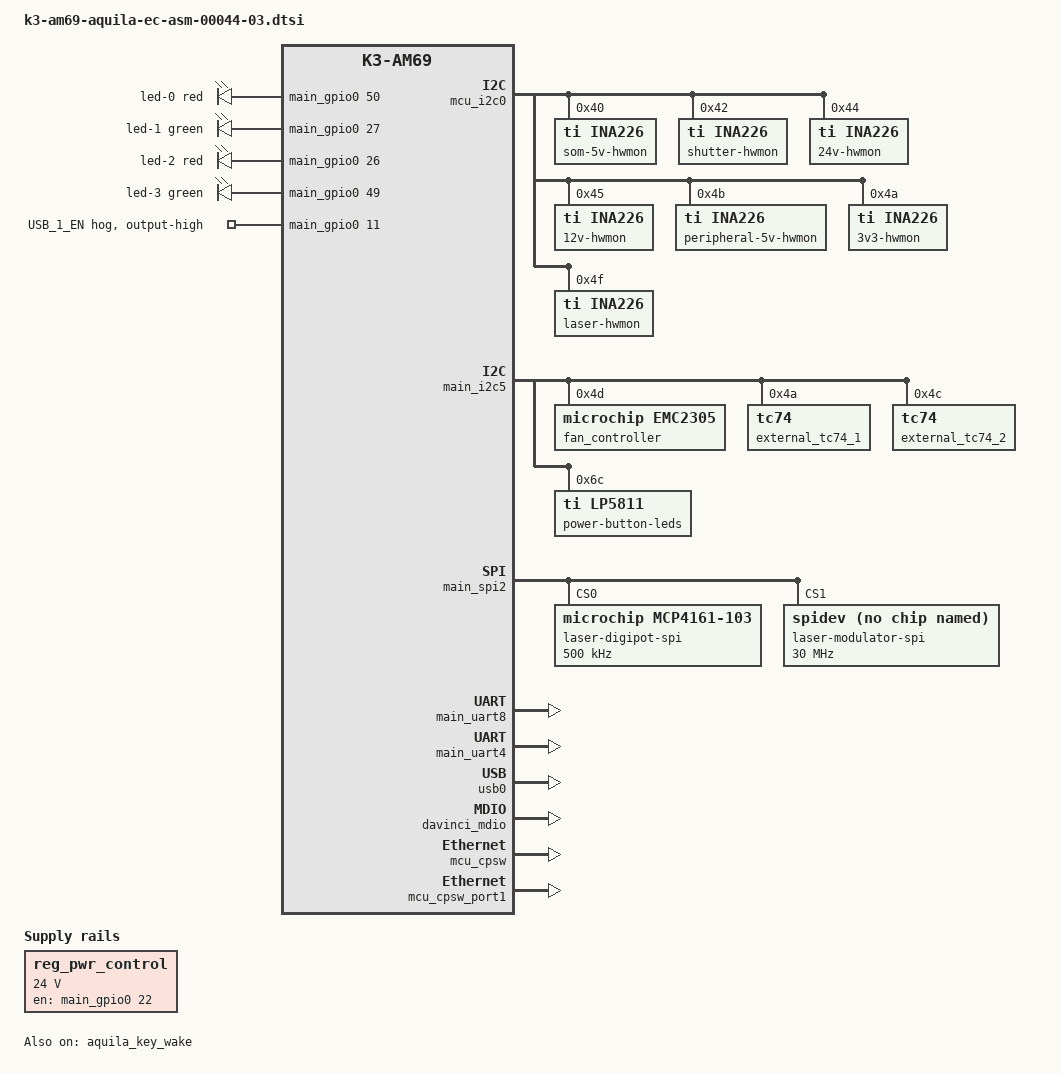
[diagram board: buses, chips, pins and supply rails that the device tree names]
// SPDX-License-Identifier: GPL-2.0-or-later OR MIT
/*
 * Copyright 2024 Toradex
 * Copyright 2025 Refeyn
 *
 * Device tree for EC-ASM-00044-03 CheckMate Main Board
 */

#include <dt-bindings/gpio/gpio.h>
#include <dt-bindings/interrupt-controller/irq.h>
#include <dt-bindings/leds/common.h>

#include "k3-am69-aquila-generic-carrier.dtsi"

&main_pmx0 {
	/* Aquila I2S_1 (LEDs) */
	pinctrl_main_mcasp4_gpio: main-mcasp4-gpio-pins {
		pinctrl-single,pins = <
			J784S4_IOPAD(0x0c8, PIN_OUTPUT, 7)  /* (AJ32) EXT_REFCLK1.MCASP4_ACLKX      */ /* AQUILA B20 */
			J784S4_IOPAD(0x06c, PIN_OUTPUT, 7)  /* (AJ37) MCAN1_TX.MCASP4_AFSX          */ /* AQUILA B21 */
			J784S4_IOPAD(0x068, PIN_OUTPUT, 7)  /* (AE38) MCAN0_RX.MCASP4_AXR1          */ /* AQUILA B22 */
			J784S4_IOPAD(0x0c4, PIN_OUTPUT, 7)  /* (AD36) ECAP0_IN_APWM_OUT.MCASP4_AXR2 */ /* AQUILA B23 */
		>;
	};

	/* Aquila CAN_1 (Debug switches) */
	pinctrl_main_mcan10_gpio: main-mcan10-gpio-pins {
		pinctrl-single,pins = <
			J784S4_IOPAD(0x0b8, PIN_INPUT, 7)  /* (AC34) MCASP1_ACLKX.MCAN10_RX */ /* AQUILA B49 */
			J784S4_IOPAD(0x0b4, PIN_INPUT, 7)  /* (AL34) MCASP1_AXR4.MCAN10_TX  */ /* AQUILA B48 */
		>;
	};

	/* Aquila SPI_1 CS */
	/* Aquila PCIE_2_RESET# */
	pinctrl_main_spi2_cs: main-spi2-cs1-default-pins {
		pinctrl-single,pins = <
			J784S4_IOPAD(0x09c, PIN_OUTPUT, 10) /* (AF35) MCASP0_AXR11.SPI2_CS1 */ /* AQUILA D9 */
			J784S4_IOPAD(0x0a4, PIN_OUTPUT, 10) /* (AJ36) MCASP0_AXR13.SPI2_CS0 */ /* AQUILA C35 */
		>;
	};

	/* Aquila ETH_2_XGMII_MDIO */
	pinctrl_pwr_control: pwr-control-default-pins {
		pinctrl-single,pins = <
			J784S4_IOPAD(0x058, PIN_OUTPUT, 7) /* (AE37) MCASP2_AFSX.GPIO0_22  */ /* AQUILA B90 */
		>;
	};
};

&wkup_pmx2 {
	/* Aquila CAN_2 (Debug switches) */
	pinctrl_mcu_mcan0_gpio: mcu-mcan0-gpio-pins {
		pinctrl-single,pins = <
			J784S4_WKUP_IOPAD(0x054, PIN_INPUT, 7)  /* (F38) MCU_MCAN0_RX  */ /* AQUILA B51 */
			J784S4_WKUP_IOPAD(0x050, PIN_INPUT, 7)  /* (K33) MCU_MCAN0_TX  */ /* AQUILA B50 */
		>;
	};

	/* Aquila CAN_4 (FAN_ALERT) */
	pinctrl_mcu_mcan1_gpio: mcu-mcan1-gpio-pins {
		pinctrl-single,pins = <
			J784S4_WKUP_IOPAD(0x068, PIN_INPUT, 7) /* (H35) WKUP_GPIO0_4.MCU_MCAN1_TX */ /* AQUILA B55 */
		>;
	};

	/* Aquila MSP_3_RX_N (SHUTTER_ACTIVE) */
	pinctrl_mcu_wkup_gpio0_3: mcu-wkup-gpio0-3-default-pins {
		pinctrl-single,pins = <
			J784S4_WKUP_IOPAD(0x064, PIN_INPUT, 7) /* (J36) WKUP_GPIO0_3 */ /* AQUILA C53 */
		>;
	};
};

// BEGIN POWER CONTROL AND DIAGNOSTICS

/ {
	reg_pwr_control: regulator-pwr-control {
		compatible = "regulator-fixed";
		pinctrl-names = "default";
		enable-active-high;
		pinctrl-0 = <&pinctrl_pwr_control>;
		/* Aquila ETH_2_XGMII_MDIO_MDC (AQUILA B90) */
		gpio = <&main_gpio0 22 GPIO_ACTIVE_HIGH>;
		regulator-max-microvolt = <24000000>;
		regulator-min-microvolt = <24000000>;
		regulator-name = "POWER_CONTROL";
		regulator-always-on;
	};
};

/* Aquila CTRL_PWR_BTN_MICO# */
&aquila_key_power {
	status = "okay";
};

/* Aquila CTRL_WAKE1_MICO# */
&aquila_key_wake {
	status = "okay";
};

/* Aquila I2C_1 */
&mcu_i2c0 {
	status = "okay";

	som-5v-hwmon@40 { // U5
		compatible = "ti,ina226";
		reg = <0x40>;
		shunt-resistor = <5000>;
	};

	shutter-hwmon@42 { // U57
		compatible = "ti,ina226";
		reg = <0x42>;
		shunt-resistor = <100000>;
	};

	24v-hwmon@44 { // U4
		compatible = "ti,ina226";
		reg = <0x44>;
		shunt-resistor = <5000>;
	};

	12v-hwmon@45 { // U2
		compatible = "ti,ina226";
		reg = <0x45>;
		shunt-resistor = <10000>;
	};

	peripheral-5v-hwmon@4b { // U6
		compatible = "ti,ina226";
		reg = <0x4B>;
		shunt-resistor = <5000>;
	};

	3v3-hwmon@4a { // U10
		compatible = "ti,ina226";
		reg = <0x4A>;
		shunt-resistor = <10000>;
	};

	laser-hwmon@4f { // U44
		compatible = "ti,ina226";
		reg = <0x4F>;
		shunt-resistor = <30000>;
	};
};

/* Aquila I2C_6 */
&main_i2c5 {
	status = "okay";

	fan_controller: fan-controller@4d {
		pinctrl-names = "default";
		pinctrl-0 =
			<&pinctrl_mcu_mcan1_gpio>, // FAN_ALERT
			<&pinctrl_gpio_01>, // READ_BATT
			<&pinctrl_gpio_02>; // BATT_OK
		compatible = "microchip,emc2305";
		reg = <0x4D>;
		#address-cells = <1>;
		#size-cells = <0>;
		#pwm-cells = <3>;

		case_fan0: case-fan-0@0 {
			reg = <0x0>;
			pwms = <&fan_controller 26000 0 1>;
			#cooling-cells = <2>;
		};

		case_fan1: case-fan-1@1 {
			reg = <0x1>;
			pwms = <&fan_controller 26000 0 1>;
			#cooling-cells = <2>;
		};

		cpu_fan: cpu-fan@2 {
			reg = <0x2>;
			pwms = <&fan_controller 26000 0 1>;
			#cooling-cells = <2>;
		};
	};

	// External temperature sensor boards
	external_tc74_1: external-tc74-1@4a {
		compatible = "tc74";
		reg = <0x4a>;
	};

	external_tc74_2: external-tc74-2@4c {
		compatible = "tc74";
		reg = <0x4c>;
	};

	power-button-leds@6c {
		compatible = "ti,lp5811";
		reg = <0x6c>;
		led-microvolts = <3300000>;
		led-max-microamp = <20000>;

		multi-led {
			color = <LED_COLOR_ID_RGB>;
			function = LED_FUNCTION_INDICATOR;
			#address-cells = <1>;
			#size-cells = <0>;
			default-state = "keep";

			led-red {
				reg = <0>;
				color = <LED_COLOR_ID_RED>;
			};

			led-green {
				reg = <1>;
				color = <LED_COLOR_ID_GREEN>;
			};

			led-blue {
				reg = <2>;
				color = <LED_COLOR_ID_BLUE>;
			};
		};
	};
};

// END

// BEGIN LASER AND SHUTTER CONTROL

/* Aquila SPI_1 */
&main_spi2 {
	status = "okay";
	pinctrl-0 =
		// SPI and CS pins
		<&pinctrl_main_spi2>,
		<&pinctrl_main_spi2_cs>, // CS1 (HW 1) and CS2 (HW 0)
		// Shutter pins
		<&pinctrl_gpio_08>, // SHUTTER_EN
		<&pinctrl_mcu_wkup_gpio0_3>, // SHUTTER_ACTIVE
		// Interlock pins
		<&pinctrl_gpio_10_csi_1>, // INTERLOCK_STATUS_0
		<&pinctrl_gpio_12_csi_1>; // INTERLOCK_STATUS_1
	cs-gpios = <0>, <0>;

	laser-digipot-spi@0 {
		reg = <0>;
		compatible = "microchip,mcp4161-103";
		spi-max-frequency = <500000>;
	};

	laser-modulator-spi@1 {
		/* Use compatible "rohm,dh2228fv" to bind spidev driver */
		reg = <1>;
		compatible = "rohm,dh2228fv";
		spi-max-frequency = <30000000>;
	};
};

// END

// BEGIN DEBUG

/* Aquila UART_3, used as the Linux console */
&main_uart8 {
	status = "okay";
};

&reg_sdhc1_vmmc {
	status = "disabled";
};

&{/} {
	leds {
		compatible = "gpio-leds";
		pinctrl-names = "default";
		pinctrl-0 =
			// LEDs
			<&pinctrl_main_mcasp4_gpio>,
			// Debug
			<&pinctrl_main_mcan10_gpio>, // DEBUG_SW_0/1
			<&pinctrl_mcu_mcan0_gpio>, // DEBUG_SW_2/3
			// Diag
			<&pinctrl_gpio_13_csi_2>, // DIAG0
			<&pinctrl_gpio_14_csi_2>, // DIAG1
			<&pinctrl_gpio_15_csi_2>, // DIAG2
			<&pinctrl_gpio_16_csi_2>; // DIAG3

		/* LED0 Red */
		led-0 {
			color = <LED_COLOR_ID_RED>;
			default-state = "off";
			function = LED_FUNCTION_STATUS;
			gpios = <&main_gpio0 50 GPIO_ACTIVE_HIGH>;
			panic-indicator;
		};

		/* LED1 Green */
		led-1 {
			color = <LED_COLOR_ID_GREEN>;
			default-state = "off";
			function = LED_FUNCTION_STATUS;
			gpios = <&main_gpio0 27 GPIO_ACTIVE_HIGH>;
			linux,default-trigger = "heartbeat";
		};

		/* LED2 Red */
		led-2 {
			color = <LED_COLOR_ID_RED>;
			default-state = "off";
			function = LED_FUNCTION_STATUS;
			gpios = <&main_gpio0 26 GPIO_ACTIVE_HIGH>;
		};

		/* LED3 Green */
		led-3 {
			color = <LED_COLOR_ID_GREEN>;
			default-state = "off";
			function = LED_FUNCTION_DISK_ACTIVITY;
			gpios = <&main_gpio0 49 GPIO_ACTIVE_HIGH>;
			linux,default-trigger = "mmc0";
		};
	};
};

// END

// BEGIN RT CPU CONTROL

/* Aquila UART_1 */
&main_uart4 {
	status = "okay";
	pinctrl-0 =
		// UART
		<&pinctrl_main_uart4>,
		// GPIOs
		<&pinctrl_gpio_04>, // RTCPU_RESET
		<&pinctrl_gpio_05>, // RTCPU_MODE_0
		<&pinctrl_gpio_06>; // RTCPU_MODE_1
};

// END

// BEGIN USB
// Note: USB2 is a PCIe USB bridge

&usb0 {
	status = "okay";
};

// END

// BEGIN ETHERNET

/* On-module ETH_1 MDIO */
&davinci_mdio {
	status = "okay";
};

&mcu_cpsw {
	status = "okay";
};

/* On-module ETH_1 RGMII */
&mcu_cpsw_port1 {
	status = "okay";
};

// END

// BEGIN THERMAL

&main0_alert0 {
	temperature = <40000>;
};

&main1_alert0 {
	temperature = <40000>;
};

&main2_alert0 {
	temperature = <40000>;
};

&main3_alert0 {
	temperature = <40000>;
};

&main4_alert0 {
	temperature = <40000>;
};

&wkup0_alert0 {
	temperature = <40000>;
};

&wkup1_alert0 {
	temperature = <40000>;
};

&main0_alert1 {
	type = "hot";
};

&main1_alert1 {
	type = "hot";
};

&main2_alert1 {
	type = "hot";
};

&main3_alert1 {
	type = "hot";
};

&main4_alert1 {
	type = "hot";
};

&wkup0_alert1 {
	type = "hot";
};

&wkup1_alert1 {
	type = "hot";
};

&main0_thermal {
	cooling-maps {
		map0 {
			cooling-device = <&cpu_fan 1 5>;
			trip = <&main0_alert0>;
		};

		map1 {
			cooling-device = <&cpu_fan 6 THERMAL_NO_LIMIT>;
			trip = <&main0_alert1>;
		};
	};
};

&main1_thermal {
	cooling-maps {
		map0 {
			cooling-device = <&cpu_fan 1 5>;
			trip = <&main1_alert0>;
		};

		map1 {
			cooling-device = <&cpu_fan 6 THERMAL_NO_LIMIT>;
			trip = <&main1_alert1>;
		};
	};
};

&main2_thermal {
	cooling-maps {
		map0 {
			cooling-device = <&cpu_fan 1 5>;
			trip = <&main2_alert0>;
		};

		map1 {
			cooling-device = <&cpu_fan 6 THERMAL_NO_LIMIT>;
			trip = <&main2_alert1>;
		};
	};
};

&main3_thermal {
	cooling-maps {
		map0 {
			cooling-device = <&cpu_fan 1 5>;
			trip = <&main3_alert0>;
		};

		map1 {
			cooling-device = <&cpu_fan 6 THERMAL_NO_LIMIT>;
			trip = <&main3_alert1>;
		};
	};
};

&main4_thermal {
	cooling-maps {
		map0 {
			cooling-device = <&cpu_fan 1 5>;
			trip = <&main4_alert0>;
		};

		map1 {
			cooling-device = <&cpu_fan 6 THERMAL_NO_LIMIT>;
			trip = <&main4_alert1>;
		};
	};
};

&wkup0_thermal {
	cooling-maps {
		map0 {
			cooling-device = <&cpu_fan 1 5>;
			trip = <&wkup0_alert0>;
		};

		map1 {
			cooling-device = <&cpu_fan 6 THERMAL_NO_LIMIT>;
			trip = <&wkup0_alert1>;
		};
	};
};

&wkup1_thermal {
	trips {
		wkup1_alert2: trip-point0 {
			temperature = <15000>;
			hysteresis = <2000>;
			type = "active";
		};
	};

	cooling-maps {
		map0 {
			cooling-device = <&cpu_fan 1 5>, <&case_fan0 6 THERMAL_NO_LIMIT>, <&case_fan1 6 THERMAL_NO_LIMIT>;
			trip = <&wkup1_alert0>;
		};

		map1 {
			cooling-device = <&cpu_fan 6 THERMAL_NO_LIMIT>, <&case_fan0 6 THERMAL_NO_LIMIT>, <&case_fan1 6 THERMAL_NO_LIMIT>;
			trip = <&wkup1_alert1>;
		};

		map2 {
			cooling-device = <&case_fan0 6 THERMAL_NO_LIMIT>, <&case_fan1 6 THERMAL_NO_LIMIT>;
			trip = <&wkup1_alert2>;
		};
	};
};

// END

&main_gpio0 {
	pinctrl-names = "default";
	pinctrl-0 = <&pinctrl_usb1_en_gpio>;

	/* USB_1_EN Driven by Power Delivery IC - must be driven high */
	usb1en-hog {
		gpio-hog;
		gpios = <11 GPIO_ACTIVE_HIGH>;
		output-high;
		line-name = "USB_1_EN";
	};
};
